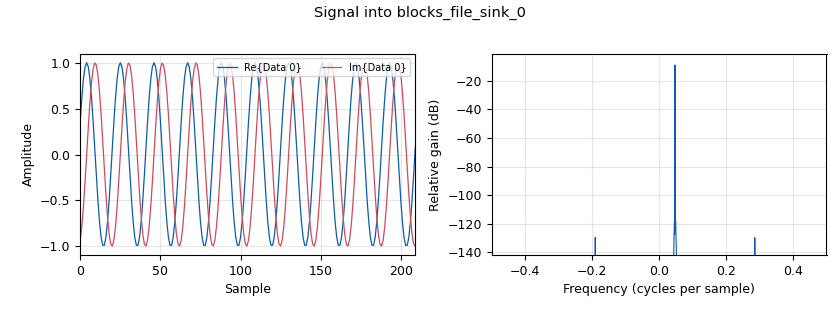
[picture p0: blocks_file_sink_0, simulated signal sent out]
<?xml version='1.0' encoding='utf-8'?>
<?grc format='1' created='3.7.10'?>
<flow_graph>
<block>
<key>options</key>
<param><key>id</key><value>top_block</value></param>
<param><key>generate_options</key><value>wx_gui</value></param>
</block>
<block>
<key>variable_slider</key>
<param><key>id</key><value>foo</value></param>
<param><key>converver</key><value>float_converter</value></param>
<param><key>value</key><value>1e6</value></param>
<param><key>label</key><value></value></param>
<param><key>max</key><value>5e6</value></param>
<param><key>min</key><value>1e6</value></param>
<param><key>num_steps</key><value>100</value></param>
<param><key>style</key><value>wx.SL_HORIZONTAL</value></param>
</block>
<block>
<key>variable</key>
<param><key>id</key><value>samp_rate</value></param>
<param><key>value</key><value>21e6</value></param>
</block>
<block>
<key>analog_sig_source_x</key>
<param><key>id</key><value>analog_sig_source_x_0</value></param>
<param><key>amp</key><value>1</value></param>
<param><key>freq</key><value>foo</value></param>
<param><key>offset</key><value>0</value></param>
<param><key>type</key><value>complex</value></param>
<param><key>samp_rate</key><value>samp_rate</value></param>
<param><key>waveform</key><value>analog.GR_COS_WAVE</value></param>
</block>
<block>
<key>blocks_file_sink</key>
<param><key>id</key><value>blocks_file_sink_0</value></param>
<param><key>file</key><value>/home/faux/cosine-wiggle.raw</value></param>
<param><key>type</key><value>complex</value></param>
</block>
<block>
<key>blocks_throttle</key>
<param><key>id</key><value>blocks_throttle_0</value></param>
<param><key>samples_per_second</key><value>samp_rate</value></param>
<param><key>type</key><value>complex</value></param>
</block>
<connection><source_block_id>analog_sig_source_x_0</source_block_id><sink_block_id>blocks_throttle_0</sink_block_id><source_key>0</source_key><sink_key>0</sink_key></connection>
<connection><source_block_id>blocks_throttle_0</source_block_id><sink_block_id>blocks_file_sink_0</sink_block_id><source_key>0</source_key><sink_key>0</sink_key></connection>
</flow_graph>
